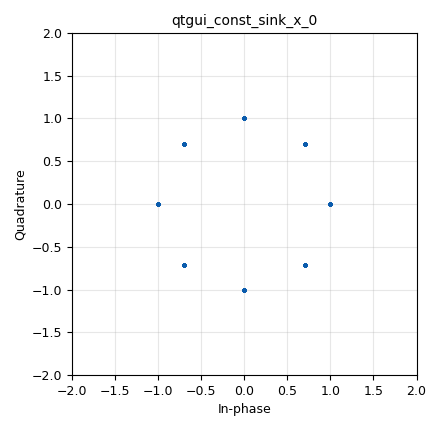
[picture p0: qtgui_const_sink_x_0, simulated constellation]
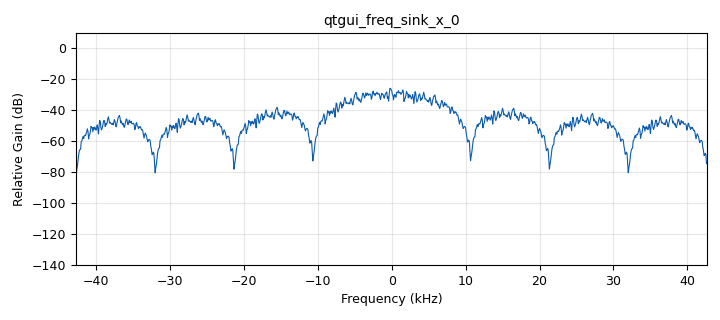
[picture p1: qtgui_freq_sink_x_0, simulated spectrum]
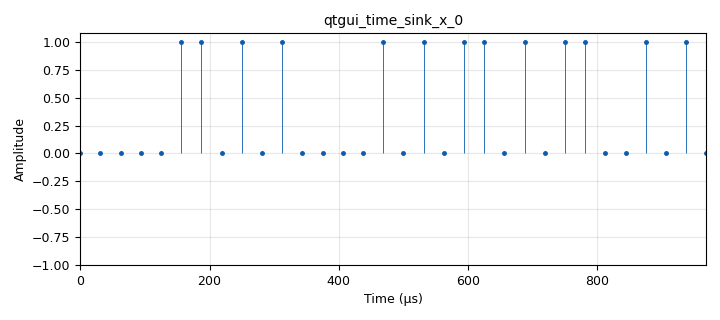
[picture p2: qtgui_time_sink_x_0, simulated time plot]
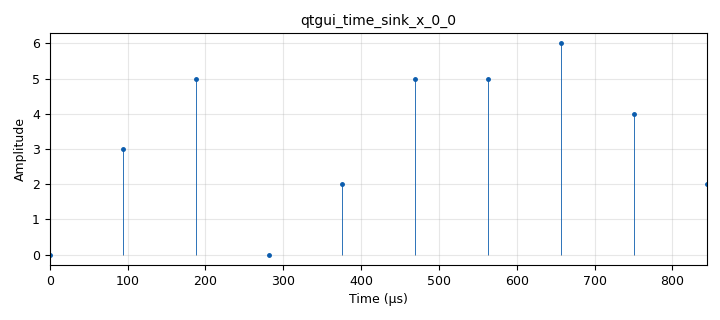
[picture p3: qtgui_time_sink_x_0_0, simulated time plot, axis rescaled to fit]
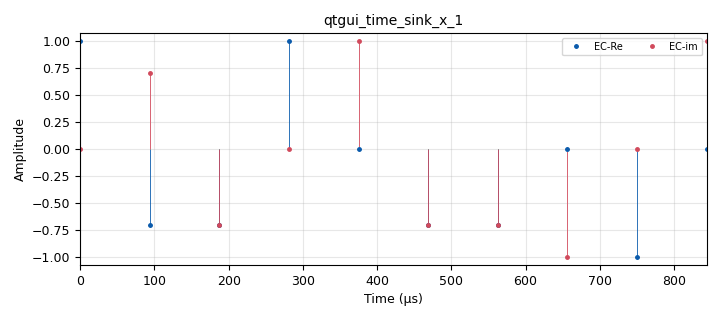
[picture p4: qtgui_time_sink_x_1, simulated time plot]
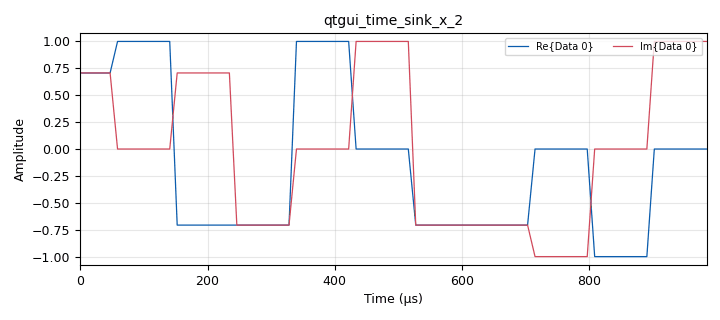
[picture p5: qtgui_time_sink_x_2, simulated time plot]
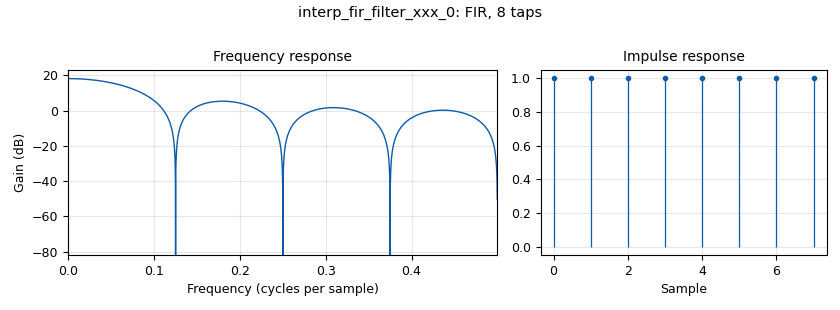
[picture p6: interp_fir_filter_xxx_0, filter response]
options:
  parameters:
    generate_options: qt_gui
    id: untitled
    output_language: python
    title: Not titled yet
  states: {}

blocks:
- name: M
  id: variable
  parameters:
    value: '8'
  states: {}
- name: Nbps
  id: variable
  parameters:
    value: int(math.log(M,2))
  states: {}
- name: RB
  id: variable
  parameters:
    value: '32000'
  states: {}
- name: Rs
  id: variable
  parameters:
    value: RB/Nbps
  states: {}
- name: Sps
  id: variable
  parameters:
    value: len(h)
  states: {}
- name: h
  id: variable
  parameters:
    value: (1,1,1,1,1,1,1,1)
  states: {}
- name: samp_rate
  id: variable
  parameters:
    value: Rs*Sps
  states: {}
- name: analog_const_source_x_0
  id: analog_const_source_x
  parameters:
    const: '1.'
    type: float
  states: {}
- name: analog_random_source_x_0
  id: analog_random_source_x
  parameters:
    max: '2'
    min: '0'
    num_samps: '1000'
    repeat: 'True'
    type: byte
  states: {}
- name: blocks_char_to_float_0
  id: blocks_char_to_float
  parameters:
    scale: '1'
  states: {}
- name: blocks_char_to_float_0_0
  id: blocks_char_to_float
  parameters:
    scale: '1'
  states: {}
- name: blocks_char_to_float_0_0_0
  id: blocks_char_to_float
  parameters:
    scale: '1'
  states: {}
- name: blocks_multiply_const_vxx_0
  id: blocks_multiply_const_vxx
  parameters:
    const: 2*math.pi/M
    type: float
  states: {}
- name: blocks_repack_bits_bb_0
  id: blocks_repack_bits_bb
  parameters:
    endianness: gr.GR_LSB_FIRST
    k: '1'
    l: Nbps
  states: {}
- name: epy_block_0
  id: epy_block
  parameters:
    _source_code: |
      import numpy as np
      from gnuradio import gr
      class blk (gr. sync_block ):
          """ Es un VCO de dos entradas :
          Q: para manipular la fase en radianes ,
          A: para manipular la
          amplitud . """
          def __init__ ( self,example_param=1.0 ) :
              gr. sync_block . __init__ (self ,
                  name = 'VCO_complex',
                  in_sig =[ np. float32 , np. float32 ],
                  out_sig =[ np. complex64 ]
              )
              self.example_param=example_param
          def work (self , input_items , output_items ):
              Q= input_items [0]
              A= input_items [1]
              Sec = output_items [0]
              Sec [:] = A*np. exp(1.j*Q)
              return len(Sec)
    example_param: '1'
  states: {}
- name: import_0
  id: import
  parameters:
    imports: import math
  states: {}
- name: interp_fir_filter_xxx_0
  id: interp_fir_filter_xxx
  parameters:
    interp: Sps
    taps: h
    type: ccc
  states: {}
- name: qtgui_const_sink_x_0
  id: qtgui_const_sink_x
  parameters:
    size: '1024'
    type: complex
  states: {}
- name: qtgui_freq_sink_x_0
  id: qtgui_freq_sink_x
  parameters:
    average: '0.05'
    bw: samp_rate
    fc: '0'
    fftsize: '1024'
    type: complex
  states: {}
- name: qtgui_time_sink_x_0
  id: qtgui_time_sink_x
  parameters:
    marker1: '0'
    size: '32'
    srate: RB
    stemplot: 'True'
    type: float
    width1: '3'
  states: {}
- name: qtgui_time_sink_x_0_0
  id: qtgui_time_sink_x
  parameters:
    marker1: '0'
    size: '10'
    srate: Rs
    stemplot: 'True'
    type: float
    width1: '3'
  states: {}
- name: qtgui_time_sink_x_1
  id: qtgui_time_sink_x
  parameters:
    color1: black
    grid: 'True'
    label1: EC-Re
    label2: EC-im
    marker1: '1'
    size: '10'
    srate: Rs
    stemplot: 'True'
    type: complex
  states: {}
- name: qtgui_time_sink_x_2
  id: qtgui_time_sink_x
  parameters:
    size: int(32*Sps/Nbps)
    srate: samp_rate
    type: complex
  states: {}

connections:
- [analog_const_source_x_0, '0', epy_block_0, '1']
- [analog_random_source_x_0, '0', blocks_char_to_float_0, '0']
- [analog_random_source_x_0, '0', blocks_repack_bits_bb_0, '0']
- [blocks_char_to_float_0, '0', qtgui_time_sink_x_0, '0']
- [blocks_char_to_float_0_0, '0', qtgui_time_sink_x_0_0, '0']
- [blocks_char_to_float_0_0_0, '0', blocks_multiply_const_vxx_0, '0']
- [blocks_multiply_const_vxx_0, '0', epy_block_0, '0']
- [blocks_repack_bits_bb_0, '0', blocks_char_to_float_0_0, '0']
- [blocks_repack_bits_bb_0, '0', blocks_char_to_float_0_0_0, '0']
- [epy_block_0, '0', interp_fir_filter_xxx_0, '0']
- [epy_block_0, '0', qtgui_const_sink_x_0, '0']
- [epy_block_0, '0', qtgui_time_sink_x_1, '0']
- [interp_fir_filter_xxx_0, '0', qtgui_freq_sink_x_0, '0']
- [interp_fir_filter_xxx_0, '0', qtgui_time_sink_x_2, '0']

metadata:
  file_format: 1
  grc_version: v3.10.11.0-89-ga17f69e7
